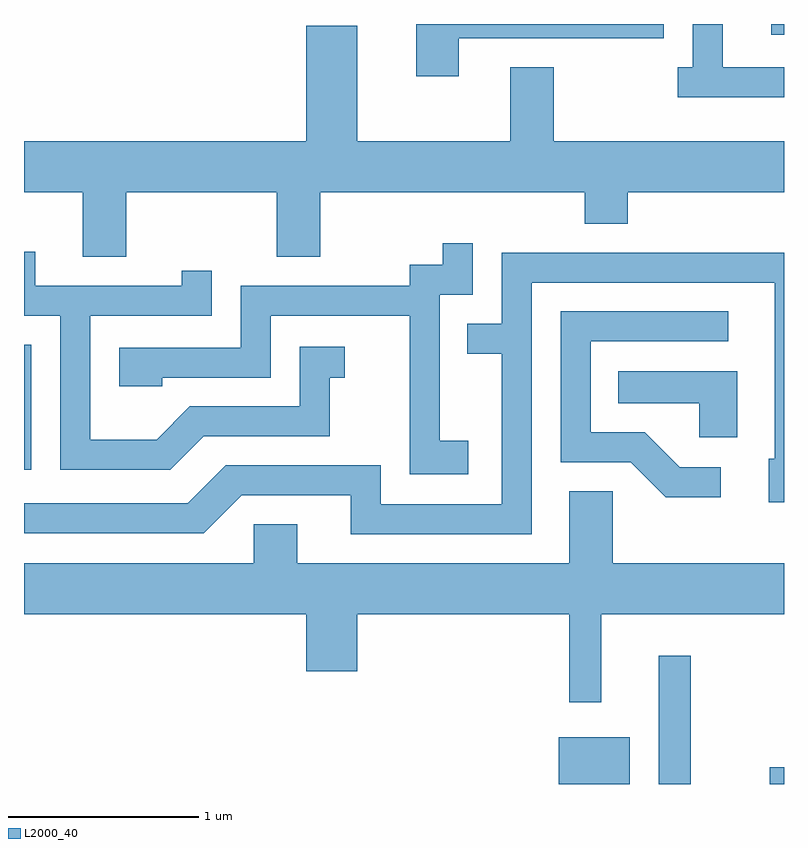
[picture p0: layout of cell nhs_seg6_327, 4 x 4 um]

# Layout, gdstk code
import gdstk
lib = gdstk.Library(unit=1e-6, precision=1e-09)
def R(c, l, rs):  # rectangles x0, y0, x1, y1
    for r in rs: c.add(gdstk.rectangle(r[:2], r[2:], *l))
def P(c, l, *ps):  # polygons
    for p in ps: c.add(gdstk.Polygon(p, *l))
L2000_40 = (2000, 40)

nhs_seg6_327 = lib.new_cell('nhs_seg6_327')
R(nhs_seg6_327, L2000_40, [(196.426,1640.162,196.799,1640.409), (196.951,1640.162,197.119,1640.838), (197.536,1640.162,197.611,1640.249), (193.611,1641.816,193.649,1642.474), (197.543,1644.106,197.611,1644.162)])
P(nhs_seg6_327, L2000_40, [(195.899,1644.086),(196.979,1644.086),(196.979,1644.162),(195.676,1644.162),(195.676,1643.886),(195.899,1643.886)],
  [(197.611,1643.934),(197.289,1643.934),(197.289,1644.162),(197.131,1644.162),(197.131,1643.934),(197.053,1643.934),(197.053,1643.776),(197.611,1643.776)],
  [(194.149,1643.276),(194.941,1643.276),(194.941,1642.936),(195.169,1642.936),(195.169,1643.276),(196.561,1643.276),(196.561,1643.111),(196.789,1643.111),(196.789,1643.276),(197.611,1643.276),(197.611,1643.544),(196.399,1643.544),(196.399,1643.934),(196.171,1643.934),(196.171,1643.544),(195.364,1643.544),(195.364,1644.154),(195.096,1644.154),(195.096,1643.544),(193.611,1643.544),(193.611,1643.276),(193.921,1643.276),(193.921,1642.936),(194.149,1642.936)],
  [(195.949,1641.969),(195.799,1641.969),(195.799,1642.736),(195.974,1642.736),(195.974,1643.008),(195.816,1643.008),(195.816,1642.894),(195.641,1642.894),(195.641,1642.784),(194.751,1642.784),(194.751,1642.459),(194.111,1642.459),(194.111,1642.256),(194.339,1642.256),(194.339,1642.301),(194.909,1642.301),(194.909,1642.626),(195.641,1642.626),(195.641,1641.791),(195.949,1641.791)],
  [(194.557,1641.991),(195.219,1641.991),(195.219,1642.301),(195.298,1642.301),(195.298,1642.464),(195.061,1642.464),(195.061,1642.149),(194.484,1642.149),(194.309,1641.974),(193.959,1641.974),(193.959,1642.626),(194.599,1642.626),(194.599,1642.863),(194.441,1642.863),(194.441,1642.784),(193.669,1642.784),(193.669,1642.963),(193.611,1642.963),(193.611,1642.626),(193.801,1642.626),(193.801,1641.816),(194.382,1641.816)],
  [(196.284,1642.801),(197.561,1642.801),(197.561,1641.874),(197.531,1641.874),(197.531,1641.646),(197.611,1641.646),(197.611,1642.959),(196.126,1642.959),(196.126,1642.584),(195.943,1642.584),(195.943,1642.426),(196.126,1642.426),(196.126,1641.634),(195.489,1641.634),(195.489,1641.839),(194.674,1641.839),(194.474,1641.639),(193.611,1641.639),(193.611,1641.481),(194.557,1641.481),(194.757,1641.681),(195.331,1641.681),(195.331,1641.476),(196.284,1641.476)],
  [(197.278,1641.829),(197.062,1641.829),(196.877,1642.014),(196.594,1642.014),(196.594,1642.491),(197.318,1642.491),(197.318,1642.649),(196.436,1642.649),(196.436,1641.856),(196.804,1641.856),(196.989,1641.671),(197.278,1641.671)],
  [(197.364,1642.334),(196.738,1642.334),(196.738,1642.166),(197.166,1642.166),(197.166,1641.986),(197.364,1641.986)],
  [(196.649,1641.056),(197.611,1641.056),(197.611,1641.324),(196.709,1641.324),(196.709,1641.704),(196.481,1641.704),(196.481,1641.324),(195.049,1641.324),(195.049,1641.529),(194.821,1641.529),(194.821,1641.324),(193.611,1641.324),(193.611,1641.056),(195.096,1641.056),(195.096,1640.756),(195.364,1640.756),(195.364,1641.056),(196.481,1641.056),(196.481,1640.593),(196.649,1640.593)])

lib.write_gds('nhs_seg6_327.gds')
